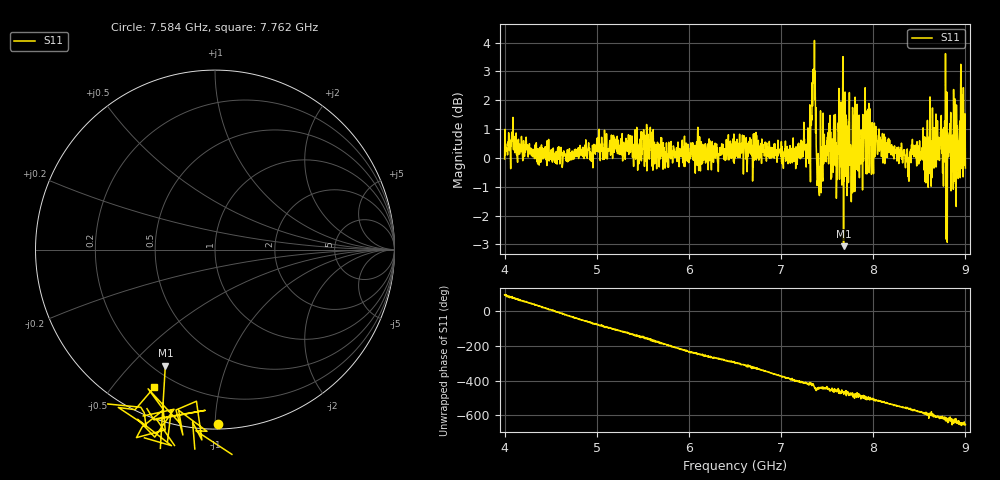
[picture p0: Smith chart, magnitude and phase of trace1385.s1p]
! Created with skrf 1.8.0 (http://scikit-rf.org).
# Hz S RI R 50.0
!freq ReS11 ImS11
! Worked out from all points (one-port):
!   1601 points, 4 GHz to 9 GHz, reference 50 ohm
!   lowest |S11| = -3.1 dB at 7.678 GHz (marker M1), VSWR 5.73, Z = 12.4 - j31.6 ohm
!   |S11| at or under -10 dB: nowhere
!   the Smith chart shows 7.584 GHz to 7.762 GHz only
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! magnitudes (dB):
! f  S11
! 4 GHz  0.0
! 4.1 GHz  0.7
! 4.625 GHz  -0.3
! 5.25 GHz  0.1
! 5.875 GHz  0.1
! 6.5 GHz  0.0
! 7.125 GHz  0.3
! 7.294 GHz  0.1
! 7.347 GHz  3.1
! 7.362 GHz  4.1
! 7.4 GHz  -0.8
! 7.412 GHz  -1.2
! 7.512 GHz  0.9
! 7.591 GHz  1.0
! 7.647 GHz  1.0
! 7.678 GHz  -3.1
! 7.75 GHz  -0.1
! 7.775 GHz  1.7
! 7.822 GHz  -0.2
! 7.928 GHz  1.3
! 7.981 GHz  -0.6
! 8.375 GHz  -0.2
! 8.441 GHz  0.0
! 8.588 GHz  1.3
! 8.666 GHz  0.5
! 8.919 GHz  0.2
! 8.956 GHz  0.1
! 9 GHz  -0.4
